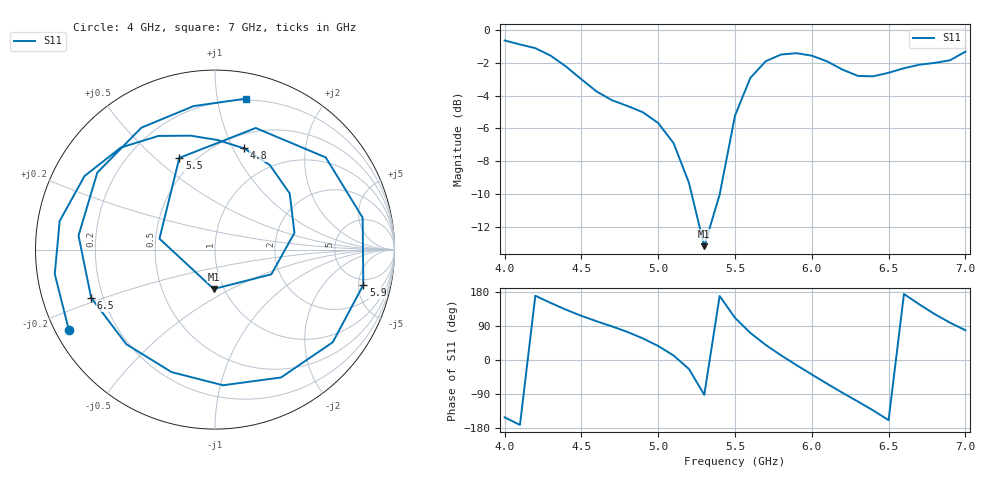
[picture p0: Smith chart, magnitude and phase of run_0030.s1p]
! Touchstone file exported from HFSS 2024.2.0
!  File:  C:/Users/wsak9/Desktop/Sim Fast/Widenad Patch/WP_AI_V1_sweep.aedt
!  Generated:  04:01:13 PM Oct 13, 2026
!  Design:  A1_model
!  Project:  WP_AI_V1_sweep
!  Setup:  Setup1
!  Solution:  Sweep
! Variables:
!  Air_gap = 2.84mm
!  Curve_Amp1 = 2.01
!  Curve_len1 = 1
!  Curve_pos = 11.275mm
!  Extra = 4.36mm
!  H_sub = 0.79mm
!  L_Patch = 18.55mm
!  L_Patch1 = 20.54mm
!  Sx = 2.9mm
!  Sy = 4.48mm
!  WS = 1.41mm
!  W_Patch = 13.53mm
!  W_Patch1 = 16.18mm
!Data is not renormalized
# GHz S MA
! Terminal data exported
! Port[1] = 1
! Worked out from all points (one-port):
!   31 points, 4 GHz to 7 GHz, reference per port
!   lowest |S11| = -13.2 dB at 5.3 GHz (marker M1), VSWR 1.56
!   |S11| at or under -10 dB: 5.218 GHz to 5.401 GHz (182.4 MHz wide, 3.44 % of centre)
!   S11 on the Smith chart (normalised r, x): 4 GHz: 0.04, -0.26; 4.8 GHz: 0.64, +1.11; 5.5 GHz: 0.41, +0.60; 5.9 GHz: 4.05, -5.71; 6.5 GHz: 0.15, -0.18; 7 GHz: 0.19, +1.21
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4  0.9286 -151.3
4.1  0.9031 -171.3
4.2  0.8798 169.6
4.3  0.8346 150.6
4.4  0.7736 132.7
4.6  0.6491 102.1
4.8  0.5868 74.0
5  0.5207 36.9
5.1  0.4523 11.9
5.2  0.3427 -23.7
5.3  0.2197 -91.9
5.4  0.3153 168.9
5.5  0.5482 111.2
5.6  0.7145 71.5
5.7  0.8028 39.8
5.8  0.8416 12.2
5.9  0.8494 -13.4
6  0.8348 -38.2
6.1  0.8018 -62.7
6.2  0.7572 -86.6
6.3  0.7242 -109.5
6.4  0.7225 -133.1
6.5  0.7404 -158.8
6.6  0.7643 174.1
6.7  0.7835 146.8
6.8  0.7935 121.1
6.9  0.8084 98.5
7  0.8583 78.4
